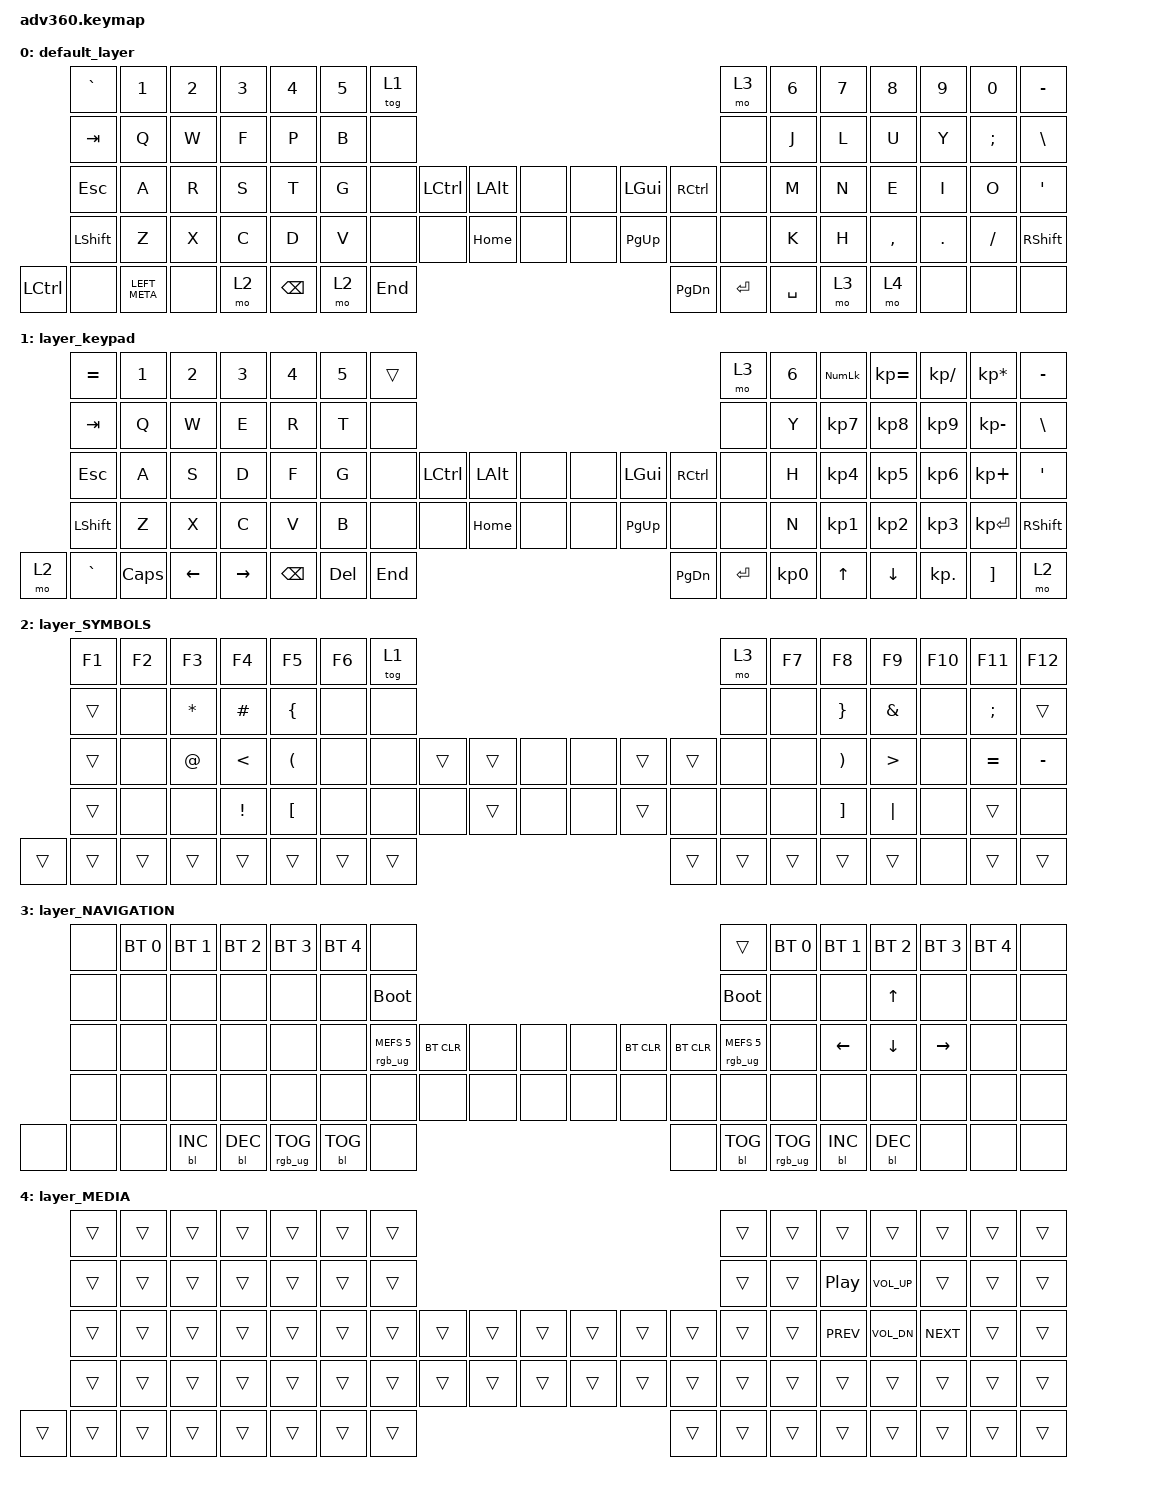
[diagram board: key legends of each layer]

/*
 * Copyright (c) 2020 The ZMK Contributors
 *
 * SPDX-License-Identifier: MIT
 */


/* THIS FILE WAS GENERATED!
 *
 * This file was generated automatically. You may or may not want to
 * edit it directly.
 */

#include <behaviors.dtsi>
#include <dt-bindings/zmk/keys.h>
#include <dt-bindings/zmk/bt.h>
#include <dt-bindings/zmk/rgb.h>
#include <dt-bindings/zmk/backlight.h>

/ {
  behaviors {
    #include "macros.dtsi"
    #include "version.dtsi"

    hm: homerow_mods {
        compatible = "zmk,behavior-hold-tap";
        label = "HOMEROW_MODS";
        #binding-cells = <2>;
        tapping-term-ms = <200>;
        quick_tap_ms = <175>;
        flavor = "tap-preferred";
        bindings = <&kp>, <&kp>;
    };
  };

    keymap {
        compatible = "zmk,keymap";


        default_layer {
            bindings = <
        &kp GRAVE  &kp N1         &kp N2  &kp N3  &kp N4  &kp N5              &tog 1                                                                 &mo 3  &kp N6  &kp N7     &kp N8   &kp N9         &kp N0  &kp MINUS
          &kp TAB   &kp Q          &kp W   &kp F   &kp P   &kp B               &none                                                                 &none   &kp J   &kp L      &kp U    &kp Y  &kp SEMICOLON   &kp BSLH
          &kp ESC   &kp A          &kp R   &kp S   &kp T   &kp G               &none  &kp LCTRL  &kp LALT   &none   &none   &kp LGUI  &kp RCTRL      &none   &kp M   &kp N      &kp E    &kp I          &kp O    &kp SQT
        &kp LSHFT   &kp Z          &kp X   &kp C   &kp D   &kp V               &none      &none  &kp HOME   &none   &none  &kp PG_UP      &none      &none   &kp K   &kp H  &kp COMMA  &kp DOT       &kp FSLH  &kp RSHFT
 &kp LEFT_CONTROL   &none  &kp LEFT_META   &none   &mo 2                    &kp BSPC      &mo 2   &kp END                  &kp PG_DN  &kp ENTER  &kp SPACE           &mo 3      &mo 4    &none          &none      &none
            >;
        };

        layer_keypad {
            bindings = <
 &kp EQUAL     &kp N1    &kp N2    &kp N3     &kp N4  &kp N5              &trans                                                                 &mo 3  &kp N6  &kp KP_NUM  &kp KP_EQUAL  &kp KP_DIVIDE  &kp KP_MULTIPLY  &kp MINUS
   &kp TAB      &kp Q     &kp W     &kp E      &kp R   &kp T               &none                                                                 &none   &kp Y   &kp KP_N7     &kp KP_N8      &kp KP_N9     &kp KP_MINUS   &kp BSLH
   &kp ESC      &kp A     &kp S     &kp D      &kp F   &kp G               &none  &kp LCTRL  &kp LALT   &none   &none   &kp LGUI  &kp RCTRL      &none   &kp H   &kp KP_N4     &kp KP_N5      &kp KP_N6      &kp KP_PLUS    &kp SQT
 &kp LSHFT      &kp Z     &kp X     &kp C      &kp V   &kp B               &none      &none  &kp HOME   &none   &none  &kp PG_UP      &none      &none   &kp N   &kp KP_N1     &kp KP_N2      &kp KP_N3     &kp KP_ENTER  &kp RSHFT
     &mo 2  &kp GRAVE  &kp CAPS  &kp LEFT  &kp RIGHT                    &kp BSPC    &kp DEL   &kp END                  &kp PG_DN  &kp ENTER  &kp KP_N0              &kp UP      &kp DOWN     &kp KP_DOT         &kp RBKT      &mo 2
            >;
        };

        layer_SYMBOLS {
            bindings = <
 &kp F1  &kp F2        &kp F3    &kp F4                &kp F5  &kp F6            &tog 1                                                   &mo 3  &kp F7                 &kp F8            &kp F9  &kp F10        &kp F11    &kp F12
 &trans   &none  &kp ASTERISK  &kp HASH        &kp LEFT_BRACE   &none             &none                                                   &none   &none        &kp RIGHT_BRACE     &kp AMPERSAND    &none  &kp SEMICOLON     &trans
 &trans   &none        &kp AT    &kp LT  &kp LEFT_PARENTHESIS   &none             &none  &trans  &trans   &none   &none  &trans  &trans   &none   &none  &kp RIGHT_PARENTHESIS  &kp GREATER_THAN    &none      &kp EQUAL  &kp MINUS
 &trans   &none         &none  &kp EXCL      &kp LEFT_BRACKET   &none             &none   &none  &trans   &none   &none  &trans   &none   &none   &none      &kp RIGHT_BRACKET          &kp PIPE    &none         &trans      &none
 &trans  &trans        &trans    &trans                &trans                    &trans  &trans  &trans                  &trans  &trans  &trans                         &trans            &trans    &none         &trans     &trans
            >;
        };

        layer_NAVIGATION {
            bindings = <
  &none  &bt BT_SEL 0  &bt BT_SEL 1  &bt BT_SEL 2  &bt BT_SEL 3  &bt BT_SEL 4                             &none                                                                              &trans  &bt BT_SEL 0    &bt BT_SEL 1    &bt BT_SEL 2     &bt BT_SEL 3  &bt BT_SEL 4   &none
  &none         &none         &none         &none         &none         &none                       &bootloader                                                                         &bootloader         &none           &none    &kp UP_ARROW            &none         &none   &none
  &none         &none         &none         &none         &none         &none            &rgb_ug RGB_MEFS_CMD 5  &bt BT_CLR   &none   &none   &none  &bt BT_CLR  &bt BT_CLR  &rgb_ug RGB_MEFS_CMD 5         &none  &kp LEFT_ARROW  &kp DOWN_ARROW  &kp RIGHT_ARROW         &none   &none
  &none         &none         &none         &none         &none         &none                             &none       &none   &none   &none   &none       &none       &none                   &none         &none           &none           &none            &none         &none   &none
  &none         &none         &none    &bl BL_INC    &bl BL_DEC                                 &rgb_ug RGB_TOG  &bl BL_TOG   &none                       &none  &bl BL_TOG         &rgb_ug RGB_TOG                    &bl BL_INC      &bl BL_DEC            &none         &none   &none
            >;
        };

        layer_MEDIA {
            bindings = <
 &trans  &trans  &trans  &trans  &trans  &trans            &trans                                                  &trans  &trans            &trans        &trans      &trans  &trans  &trans
 &trans  &trans  &trans  &trans  &trans  &trans            &trans                                                  &trans  &trans  &kp C_PLAY_PAUSE  &kp C_VOL_UP      &trans  &trans  &trans
 &trans  &trans  &trans  &trans  &trans  &trans            &trans  &trans  &trans  &trans  &trans  &trans  &trans  &trans  &trans        &kp C_PREV  &kp C_VOL_DN  &kp C_NEXT  &trans  &trans
 &trans  &trans  &trans  &trans  &trans  &trans            &trans  &trans  &trans  &trans  &trans  &trans  &trans  &trans  &trans            &trans        &trans      &trans  &trans  &trans
 &trans  &trans  &trans  &trans  &trans                    &trans  &trans  &trans                  &trans  &trans  &trans                    &trans        &trans      &trans  &trans  &trans
            >;
        };

    };
};
